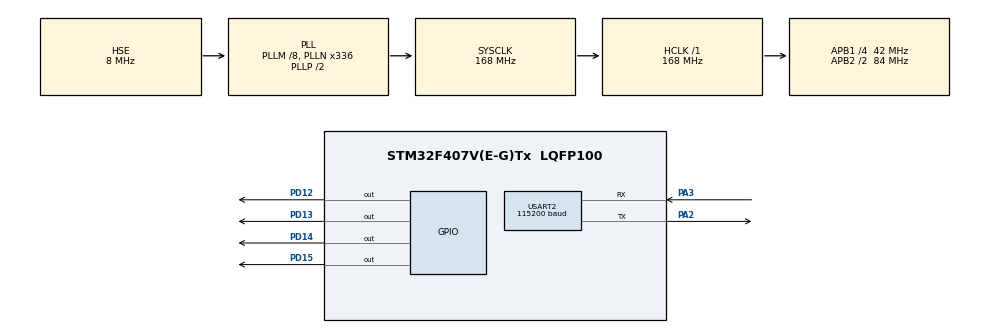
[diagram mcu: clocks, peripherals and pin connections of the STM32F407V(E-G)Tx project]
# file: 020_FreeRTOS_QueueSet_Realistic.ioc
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FREERTOS.Tasks01=defaultTask,24,128,StartDefaultTask,Default,NULL,Dynamic,NULL,NULL
FREERTOS.configUSE_NEWLIB_REENTRANT=1
Mcu.Family=STM32F4
Mcu.Name=STM32F407V(E-G)Tx
Mcu.Package=LQFP100
NVIC.PriorityGroup=NVIC_PRIORITYGROUP_4
NVIC.TIM8_TRG_COM_TIM14_IRQn=true\:15\:0\:false\:false\:true\:false\:false\:true\:true
NVIC.TimeBase=TIM8_TRG_COM_TIM14_IRQn
NVIC.TimeBaseIP=TIM14
NVIC.USART2_IRQn=true\:5\:0\:false\:false\:true\:true\:true\:true\:true
PA2.Mode=Asynchronous
PA2.Signal=USART2_TX
PA3.Mode=Asynchronous
PA3.Signal=USART2_RX
PD12.Signal=GPIO_Output
PD13.Signal=GPIO_Output
PD14.Signal=GPIO_Output
PD15.Signal=GPIO_Output
PH0-OSC_IN.Mode=HSE-External-Oscillator
PH0-OSC_IN.Signal=RCC_OSC_IN
PH1-OSC_OUT.Mode=HSE-External-Oscillator
PH1-OSC_OUT.Signal=RCC_OSC_OUT
ProjectManager.HeapSize=0x200
ProjectManager.StackSize=0x400
ProjectManager.TargetToolchain=STM32CubeIDE
RCC.48MHZClocksFreq_Value=48000000
RCC.AHBFreq_Value=168000000
RCC.APB1CLKDivider=RCC_HCLK_DIV4
RCC.APB1Freq_Value=42000000
RCC.APB1TimFreq_Value=84000000
RCC.APB2CLKDivider=RCC_HCLK_DIV2
RCC.APB2Freq_Value=84000000
RCC.APB2TimFreq_Value=168000000
RCC.CortexFreq_Value=168000000
RCC.HCLKFreq_Value=168000000
RCC.HSE_VALUE=8000000
RCC.HSI_VALUE=16000000
RCC.LSE_VALUE=32768
RCC.PLLM=8
RCC.PLLN=336
RCC.PLLQ=7
RCC.PLLSourceVirtual=RCC_PLLSOURCE_HSE
RCC.SYSCLKFreq_VALUE=168000000
RCC.SYSCLKSource=RCC_SYSCLKSOURCE_PLLCLK
RCC.VCOOutputFreq_Value=336000000
USART2.BaudRate=115200
USART2.VirtualMode=VM_ASYNC
VP_FREERTOS_VS_CMSIS_V2.Mode=CMSIS_V2
VP_SYS_VS_tim14.Mode=TIM14
board=STM32F407G-DISC1

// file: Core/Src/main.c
/* USER CODE BEGIN Header */
/**
  ******************************************************************************
  * @file           : main.c
  * @brief          : Main program body
  ******************************************************************************
  * @attention
  *
  * Copyright (c) 2023 STMicroelectronics.
  * All rights reserved.
  *
  * This software is licensed under terms that can be found in the LICENSE file
  * in the root directory of this software component.
  * If no LICENSE file comes with this software, it is provided AS-IS.
  *
  ******************************************************************************
  */
/* USER CODE END Header */
#include "main.h"

/* USER CODE BEGIN Includes */
#include "FreeRTOS.h"
#include "task.h"
#include "queue.h"
#include <stdio.h>
#include <string.h>
#include "semphr.h"
/* USER CODE END Includes */

UART_HandleTypeDef huart2;

/* Definitions for defaultTask */

/* USER CODE BEGIN PV */
QueueHandle_t xCharPointerQueue, xCharPointerQueue2;
QueueHandle_t xUint32tQueue;

SemaphoreHandle_t xBinarySemaphore;

QueueSetHandle_t xQueueSet;
/* USER CODE END PV */

void SystemClock_Config(void);
static void MX_GPIO_Init(void);
static void MX_USART2_UART_Init(void);

/* USER CODE BEGIN 0 */
void vAMoreRealisticReceiverTask(void *pvParameters)
{
	QueueSetMemberHandle_t xHandle;
	char *pcReceivedString;
	uint32_t ulReceivedValue;
	const TickType_t xDelay100ms = pdMS_TO_TICKS(20);

	for(;;)
	{
		xHandle = xQueueSelectFromSet(xQueueSet, xDelay100ms);

		if(xHandle == NULL)
		{
			const char *errMsg = "Cant get item from Queue set\r\n";
			HAL_UART_Transmit(&huart2, (uint8_t*)errMsg, strlen(errMsg), HAL_MAX_DELAY);
		}
		else if(xHandle == (QueueSetMemberHandle_t) xCharPointerQueue)
		{
			xQueueReceive(xCharPointerQueue, &pcReceivedString, 0);
			HAL_UART_Transmit(&huart2, (uint8_t *)pcReceivedString, strlen(pcReceivedString), HAL_MAX_DELAY);
		}
		else if(xHandle == (QueueSetMemberHandle_t) xUint32tQueue)
		{
			xQueueReceive(xUint32tQueue, &ulReceivedValue, 0);
			char buffer[50];
			sprintf(buffer, "Received from xUint32tQueue : %ld\r\n", ulReceivedValue);
			HAL_UART_Transmit(&huart2, (uint8_t *)buffer, strlen(buffer), HAL_MAX_DELAY);
		}
		else if(xHandle == (QueueSetMemberHandle_t) xCharPointerQueue2)
		{
			xQueueReceive(xCharPointerQueue2, &pcReceivedString, 0);
			HAL_UART_Transmit(&huart2, (uint8_t *)pcReceivedString, strlen(pcReceivedString), HAL_MAX_DELAY);
		}
		else if(xHandle == (QueueSetMemberHandle_t) xBinarySemaphore)
		{
			xSemaphoreTake(xBinarySemaphore, 0);
			char *smphrMsg = "Semaphore has taken!\r\n";
			HAL_UART_Transmit(&huart2, (uint8_t *)smphrMsg, strlen(smphrMsg), HAL_MAX_DELAY);
		}
	}
}
void vSenderTask1(void *pvParameters)
{
	const TickType_t xDelay100ms = pdMS_TO_TICKS(200);
	const char *msg = "Message from vSenderTask1\r\n";

	for(;;)
	{
		vTaskDelay(xDelay100ms);

		xQueueSend(xCharPointerQueue, &msg, 0);
	}
}
void vSenderTask2(void *pvParameters)
{
	const TickType_t xDelay300ms = pdMS_TO_TICKS(200);
	uint32_t count = 0;

	for(;;)
	{
		vTaskDelay(xDelay300ms);
		xQueueSend(xUint32tQueue, &count, 0);
		count++;
	}
}
void vSenderTask3(void *pvParameters)
{
	const TickType_t xDelay100ms = pdMS_TO_TICKS(200);

	for(;;)
	{
		vTaskDelay(xDelay100ms);
		xSemaphoreGive(xBinarySemaphore);
	}
}
void vSenderTask4(void *pvParameters)
{
	const TickType_t xDelay100ms = pdMS_TO_TICKS(200);
	const char *msg2 = "Message from vSenderTask4\r\n";

	for(;;)
	{
		vTaskDelay(xDelay100ms);
		xQueueSend(xCharPointerQueue2, &msg2, 0);
	}
}
/* USER CODE END 0 */

int main(void)
{

  /* MCU Configuration--------------------------------------------------------*/

  /* Reset of all peripherals, Initializes the Flash interface and the Systick. */
  HAL_Init();

  /* Configure the system clock */
  SystemClock_Config();

  /* Initialize all configured peripherals */
  MX_GPIO_Init();
  MX_USART2_UART_Init();
  /* USER CODE BEGIN 2 */
  xCharPointerQueue = xQueueCreate(1, sizeof(char *));
  xUint32tQueue = xQueueCreate(1, sizeof(uint32_t));
  xCharPointerQueue2 = xQueueCreate(1, sizeof(char *));
  xBinarySemaphore = xSemaphoreCreateBinary();

  xQueueSet = xQueueCreateSet(1 * 4);
  xQueueAddToSet(xCharPointerQueue, xQueueSet);
  xQueueAddToSet(xUint32tQueue, xQueueSet);
  xQueueAddToSet(xCharPointerQueue2, xQueueSet);
  xQueueAddToSet(xBinarySemaphore, xQueueSet);

  xTaskCreate(vSenderTask1, "Sender1", configMINIMAL_STACK_SIZE, NULL, 2, NULL);
  xTaskCreate(vSenderTask2, "Sender2", configMINIMAL_STACK_SIZE, NULL, 2, NULL);
  xTaskCreate(vSenderTask3, "Sender3", configMINIMAL_STACK_SIZE, NULL, 2, NULL);
  xTaskCreate(vSenderTask4, "Sender4", configMINIMAL_STACK_SIZE, NULL, 2, NULL);
  xTaskCreate(vAMoreRealisticReceiverTask, "Receiver", configMINIMAL_STACK_SIZE, NULL, 1, NULL);

  vTaskStartScheduler();
  /* USER CODE END 2 */

  /* Init scheduler */

  /* Create the thread(s) */
  /* creation of defaultTask */

  /* Start scheduler */

  /* We should never get here as control is now taken by the scheduler */
  /* Infinite loop */
  while (1)
  {

  }
}

void SystemClock_Config(void)
{
  RCC_OscInitTypeDef RCC_OscInitStruct = {0};
  RCC_ClkInitTypeDef RCC_ClkInitStruct = {0};

  /** Configure the main internal regulator output voltage
  */
  __HAL_RCC_PWR_CLK_ENABLE();
  __HAL_PWR_VOLTAGESCALING_CONFIG(PWR_REGULATOR_VOLTAGE_SCALE1);

  /** Initializes the RCC Oscillators according to the specified parameters
  * in the RCC_OscInitTypeDef structure.
  */
  RCC_OscInitStruct.OscillatorType = RCC_OSCILLATORTYPE_HSE;
  RCC_OscInitStruct.HSEState = RCC_HSE_ON;
  RCC_OscInitStruct.PLL.PLLState = RCC_PLL_ON;
  RCC_OscInitStruct.PLL.PLLSource = RCC_PLLSOURCE_HSE;
  RCC_OscInitStruct.PLL.PLLM = 8;
  RCC_OscInitStruct.PLL.PLLN = 336;
  RCC_OscInitStruct.PLL.PLLP = RCC_PLLP_DIV2;
  RCC_OscInitStruct.PLL.PLLQ = 7;
  if (HAL_RCC_OscConfig(&RCC_OscInitStruct) != HAL_OK)
  {
    Error_Handler();
  }

  /** Initializes the CPU, AHB and APB buses clocks
  */
  RCC_ClkInitStruct.ClockType = RCC_CLOCKTYPE_HCLK|RCC_CLOCKTYPE_SYSCLK
                              |RCC_CLOCKTYPE_PCLK1|RCC_CLOCKTYPE_PCLK2;
  RCC_ClkInitStruct.SYSCLKSource = RCC_SYSCLKSOURCE_PLLCLK;
  RCC_ClkInitStruct.AHBCLKDivider = RCC_SYSCLK_DIV1;
  RCC_ClkInitStruct.APB1CLKDivider = RCC_HCLK_DIV4;
  RCC_ClkInitStruct.APB2CLKDivider = RCC_HCLK_DIV2;

  if (HAL_RCC_ClockConfig(&RCC_ClkInitStruct, FLASH_LATENCY_5) != HAL_OK)
  {
    Error_Handler();
  }
}

static void MX_USART2_UART_Init(void)
{

  huart2.Instance = USART2;
  huart2.Init.BaudRate = 115200;
  huart2.Init.WordLength = UART_WORDLENGTH_8B;
  huart2.Init.StopBits = UART_STOPBITS_1;
  huart2.Init.Parity = UART_PARITY_NONE;
  huart2.Init.Mode = UART_MODE_TX_RX;
  huart2.Init.HwFlowCtl = UART_HWCONTROL_NONE;
  huart2.Init.OverSampling = UART_OVERSAMPLING_16;
  if (HAL_UART_Init(&huart2) != HAL_OK)
  {
    Error_Handler();
  }

}

static void MX_GPIO_Init(void)
{
  GPIO_InitTypeDef GPIO_InitStruct = {0};

  /* GPIO Ports Clock Enable */
  __HAL_RCC_GPIOH_CLK_ENABLE();
  __HAL_RCC_GPIOA_CLK_ENABLE();
  __HAL_RCC_GPIOD_CLK_ENABLE();

  /*Configure GPIO pin Output Level */
  HAL_GPIO_WritePin(GPIOD, GPIO_PIN_12|GPIO_PIN_13|GPIO_PIN_14|GPIO_PIN_15, GPIO_PIN_RESET);

  /*Configure GPIO pins : PD12 PD13 PD14 PD15 */
  GPIO_InitStruct.Pin = GPIO_PIN_12|GPIO_PIN_13|GPIO_PIN_14|GPIO_PIN_15;
  GPIO_InitStruct.Mode = GPIO_MODE_OUTPUT_PP;
  GPIO_InitStruct.Pull = GPIO_NOPULL;
  GPIO_InitStruct.Speed = GPIO_SPEED_FREQ_LOW;
  HAL_GPIO_Init(GPIOD, &GPIO_InitStruct);

}

void HAL_TIM_PeriodElapsedCallback(TIM_HandleTypeDef *htim)
{
  if (htim->Instance == TIM14) {
    HAL_IncTick();
  }
}

void Error_Handler(void)
{
  __disable_irq();
  while (1)
  {
  }
}
